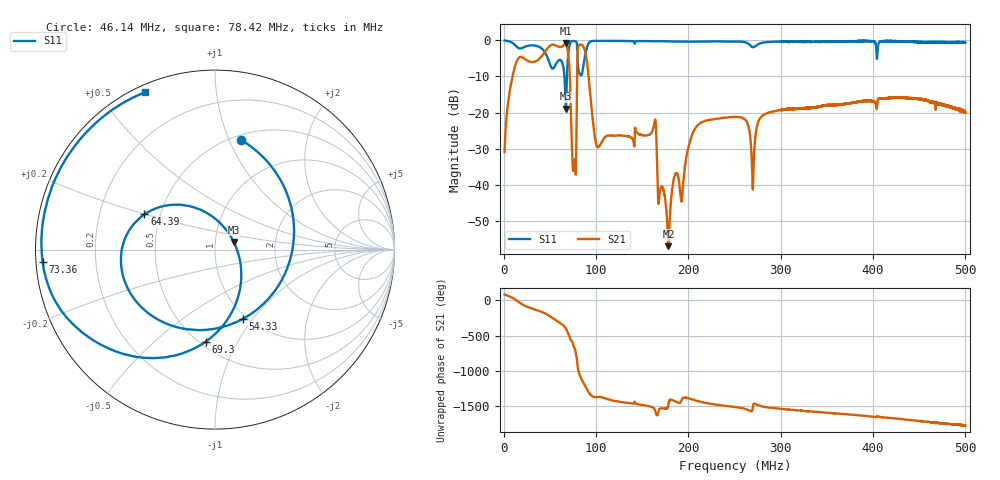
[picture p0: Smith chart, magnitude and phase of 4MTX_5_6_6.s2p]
! NanoVNA-App
! Date: 2026-08-18 21:21:16
! Start: 1MHz Stop: 500MHz Points: 6401
! S-Parameter data: F S11 S21 S12 S22
# Hz S RI R 50
!  Frequency  S11_Real  S11_Imag  S21_Real  S21_Imag  S12_Real  S12_Imag  S22_Real  S22_Imag
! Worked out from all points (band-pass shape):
!   6401 points, 1 MHz to 500 MHz, reference 50 ohm
!   highest |S21| = -0.89 dB at 67.12 MHz (marker M1); lowest = -56.9 dB at 178.4 MHz (marker M2)
!   |S21| within 3 dB of the highest: 42.86 MHz to 69.87 MHz (27.01 MHz wide, 47.9 % of centre); 79.77 MHz to 88.89 MHz (9.119 MHz wide, 10.8 % of centre)
!   lowest |S11| = -19.0 dB at 67.43 MHz (marker M3), VSWR 1.25, Z = 61.4 + j5.34 ohm
!   |S11| at or under -10 dB: 65.76 MHz to 68.51 MHz (2.755 MHz wide, 4.1 % of centre)
!   S12 and S22 are empty: the file has one direction only
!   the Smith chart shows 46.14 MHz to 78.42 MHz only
!   S11 on the Smith chart (normalised r, x): 46.14 MHz: 0.55, +1.11; 54.33 MHz: 0.96, -0.90; 64.39 MHz: 0.41, +0.20; 69.3 MHz: 0.54, -0.75; 73.36 MHz: 0.02, -0.04; 78.42 MHz: 0.03, +0.65
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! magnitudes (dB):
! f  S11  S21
! 1 MHz  -0.1  -31.0
! 14.49 MHz  -1.9  -5.6
! 46.14 MHz  -4.0  -2.7
! 54.33 MHz  -7.6  -1.3
! 64.39 MHz  -7.1  -1.5
! 67.12 MHz  -17.8  -0.9
! 67.43 MHz  -19.0  -0.9
! 69.3 MHz  -5.8  -2.7
! 73.36 MHz  -0.3  -25.3
! 76.16 MHz  -0.2  -35.3
! 78.42 MHz  -0.4  -33.8
! 84.19 MHz  -9.7  -1.2
! 101.3 MHz  -0.2  -29.5
! 162.7 MHz  -0.3  -23.6
! 167.4 MHz  -0.3  -44.6
! 178.4 MHz  -0.3  -56.9
! 207.4 MHz  -0.4  -24.4
! 250.5 MHz  -0.4  -21.2
! 269.8 MHz  -2.0  -41.3
! 333.7 MHz  -0.5  -18.6
! 416.9 MHz  -0.3  -16.1
! 500 MHz  -0.6  -20.1
